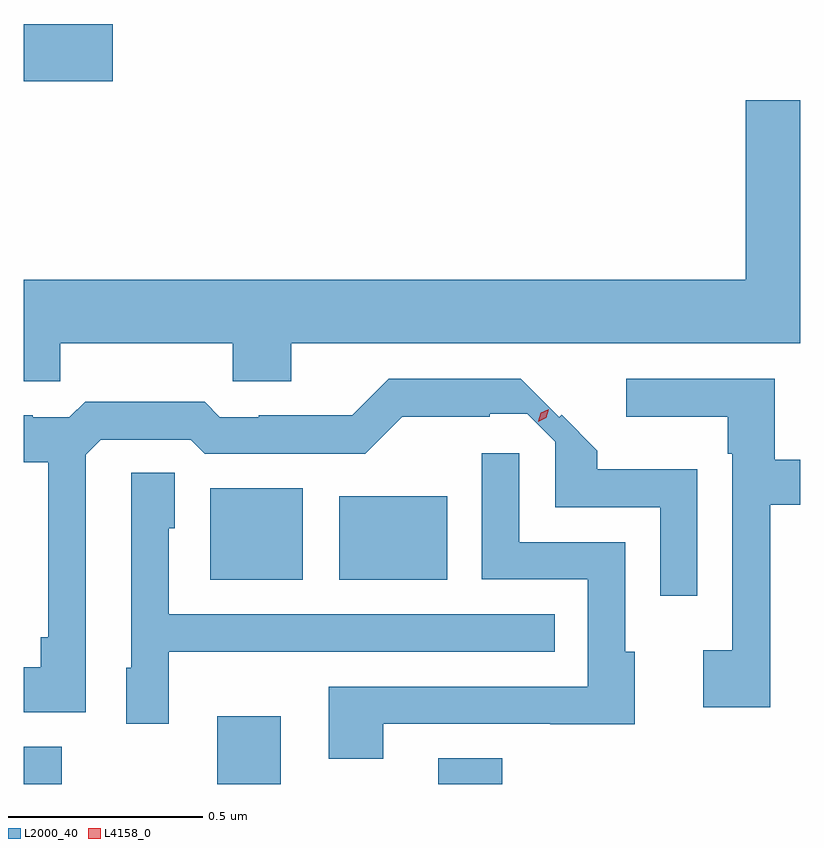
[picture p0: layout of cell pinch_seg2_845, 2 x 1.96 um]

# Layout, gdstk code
import gdstk
lib = gdstk.Library(unit=1e-6, precision=1e-09)
def R(c, l, rs):  # rectangles x0, y0, x1, y1
    for r in rs: c.add(gdstk.rectangle(r[:2], r[2:], *l))
def P(c, l, *ps):  # polygons
    for p in ps: c.add(gdstk.Polygon(p, *l))
L2000_40 = (2000, 40)
L4158_0 = (4158, 0)

pinch_seg2_845 = lib.new_cell('pinch_seg2_845')
R(pinch_seg2_845, L2000_40, [(747.143,595.885,747.241,595.981), (747.641,595.885,747.805,596.059), (748.211,595.885,748.375,595.951), (747.623,596.411,747.862,596.647), (747.956,596.411,748.234,596.626), (747.143,597.695,747.373,597.842)])
P(pinch_seg2_845, L2000_40, [(747.237,597.02),(747.682,597.02),(747.682,596.922),(747.832,596.922),(747.832,597.02),(749.143,597.02),(749.143,597.646),(749.003,597.646),(749.003,597.184),(747.143,597.184),(747.143,596.922),(747.237,596.922)],
  [(749.065,596.604),(749.143,596.604),(749.143,596.72),(749.077,596.72),(749.077,596.928),(748.695,596.928),(748.695,596.831),(748.956,596.831),(748.956,596.735),(748.968,596.735),(748.968,596.23),(748.893,596.23),(748.893,596.082),(749.065,596.082)],
  [(747.303,596.733),(747.342,596.772),(747.573,596.772),(747.609,596.736),(748.023,596.736),(748.118,596.831),(748.343,596.831),(748.343,596.838),(748.44,596.838),(748.512,596.766),(748.512,596.598),(748.782,596.598),(748.782,596.37),(748.878,596.37),(748.878,596.695),(748.62,596.695),(748.62,596.743),(748.528,596.836),(748.522,596.83),(748.423,596.928),(748.083,596.928),(747.989,596.834),(747.748,596.834),(747.748,596.829),(747.648,596.829),(747.609,596.869),(747.301,596.869),(747.261,596.829),(747.167,596.829),(747.167,596.834),(747.143,596.834),(747.143,596.714),(747.206,596.714),(747.206,596.263),(747.187,596.263),(747.187,596.186),(747.143,596.186),(747.143,596.07),(747.303,596.07)],
  [(748.069,596.04),(748.499,596.04),(748.499,596.039),(748.717,596.039),(748.717,596.226),(748.692,596.226),(748.692,596.508),(748.419,596.508),(748.419,596.737),(748.323,596.737),(748.323,596.412),(748.596,596.412),(748.596,596.136),(747.929,596.136),(747.929,595.95),(748.069,595.95)],
  [(747.516,596.225),(747.833,596.225),(747.833,596.226),(748.511,596.226),(748.511,596.322),(747.516,596.322),(747.516,596.544),(747.532,596.544),(747.532,596.687),(747.42,596.687),(747.42,596.184),(747.407,596.184),(747.407,596.04),(747.516,596.04)])
P(pinch_seg2_845, L4158_0, [(748.468,596.818),(748.468,596.819),(748.474,596.841),(748.495,596.85),(748.495,596.85),(748.495,596.85),(748.489,596.828),(748.468,596.818)])

lib.write_gds('pinch_seg2_845.gds')
